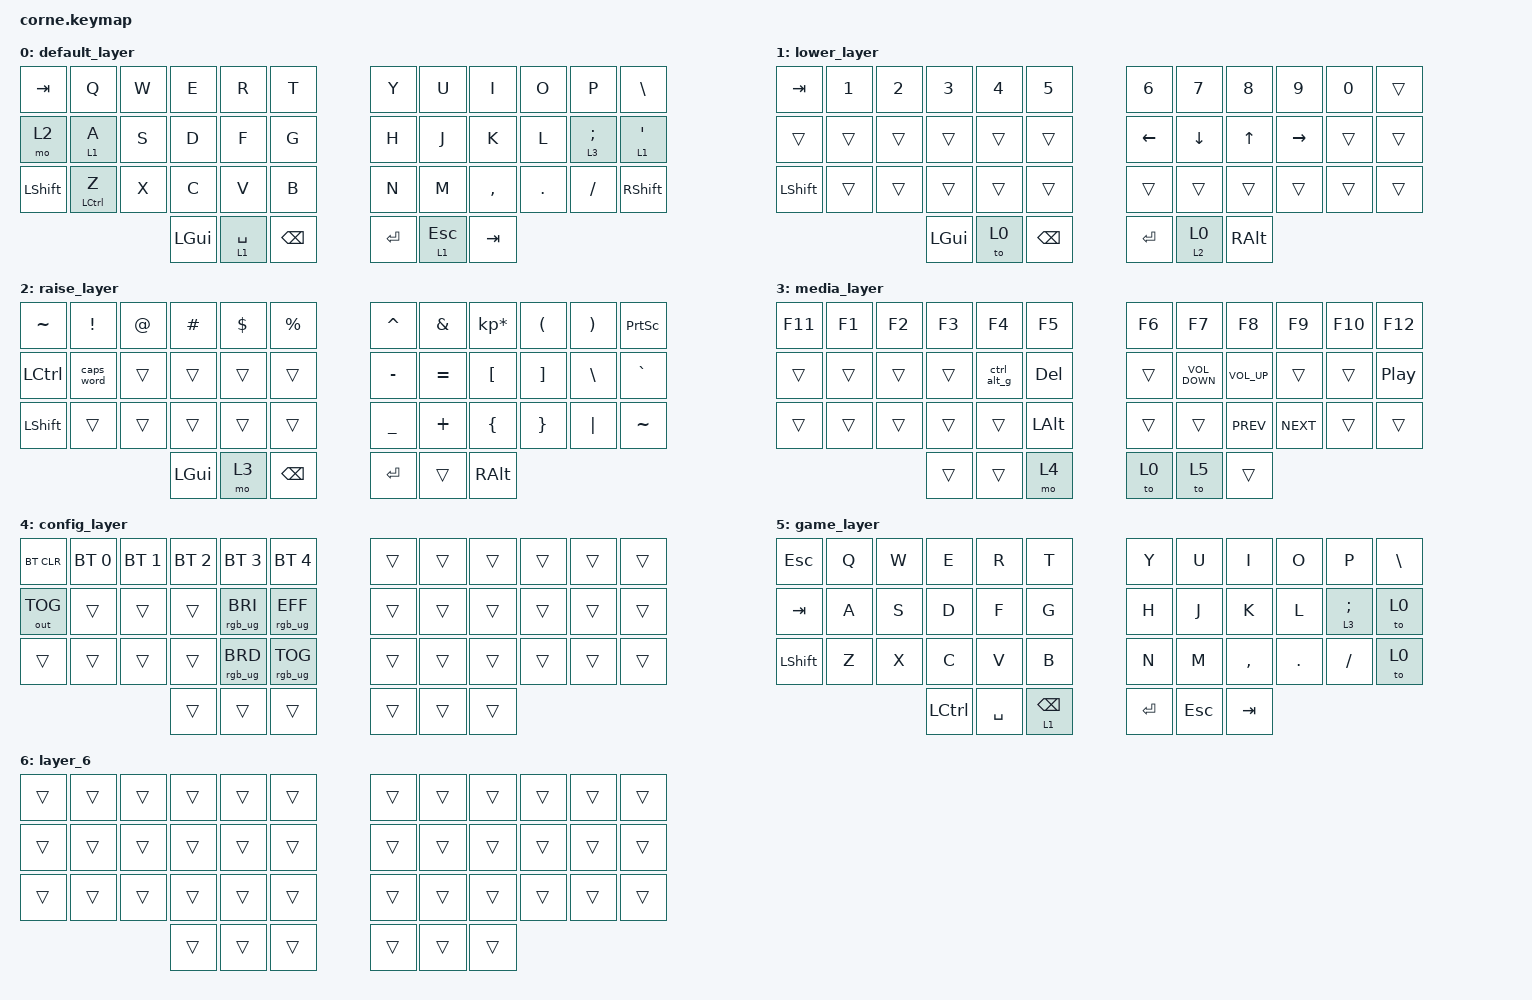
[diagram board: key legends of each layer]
/*
 * Copyright (c) 2020 The ZMK Contributors
 *
 * SPDX-License-Identifier: MIT
 */

#include <../boards/shields/corne/boards/nice_nano.overlay>
#include <behaviors.dtsi>
#include <dt-bindings/zmk/bt.h>
#include <dt-bindings/zmk/keys.h>
#include <dt-bindings/zmk/outputs.h>
#include <dt-bindings/zmk/rgb.h>

// Overwrite number of leds on the keyboard. A Corne has 27 per side.
// &led_strip { chain-length = <27>; };
// Overwrite the display cs pin
// This have to be comment out for the right side.

&nice_view_spi { cs-gpios = <&pro_micro 1 GPIO_ACTIVE_HIGH>; };

&mt { tapping-term-ms = <300>; };

/ {
    behaviors {
        mth: my_tolayer_hold {
            compatible = "zmk,behavior-hold-tap";
            label = "MY_TOLAYER_HOLD";
            #binding-cells = <2>;
            flavor = "tap-preferred";
            tapping-term-ms = <250>;
            quick-tap-ms = <125>;
            bindings = <&mo>, <&kp>;
        };

        mll: my_holdlater_tolayer {
            compatible = "zmk,behavior-hold-tap";
            label = "MY_HOLDLAYER_TOHOLD";
            #binding-cells = <2>;
            flavor = "hold-preferred";
            tapping-term-ms = <250>;
            quick-tap-ms = <125>;
            bindings = <&mo>, <&to>;
        };
    };

    macros {
        ctrl_alt_g: ctrl_alt_g {
            compatible = "zmk,behavior-macro";
            #binding-cells = <0>;
            bindings =
                <&macro_press>,
                <&kp LCTRL &kp LEFT_ALT>,
                <&macro_tap>,
                <&kp G>,
                <&macro_release>,
                <&kp LCTRL &kp LEFT_ALT>;

            label = "CTRL_ALT_G";
        };
    };

    keymap {
        compatible = "zmk,keymap";

        default_layer {
            // -----------------------------------------------------------------------------------------
            // |  TAB |  Q  |  W  |  E  |  R  |  T  |   |  Y  |  U   |  I  |  O  |  P  | BKSP |
            // | CTRL |  A  |  S  |  D  |  F  |  G  |   |  H  |  J   |  K  |  L  |  ;  |  '   |
            // | SHFT |  Z  |  X  |  C  |  V  |  B  |   |  N  |  M   |  ,  |  .  |  /  | ESC  |
            //                    | GUI | LWR | SPC |   | ENT | RSE  | ALT |

            bindings = <
&kp TAB    &kp Q        &kp W  &kp E     &kp R        &kp T            &kp Y    &kp U      &kp I      &kp O    &kp P        &kp BSLH
&mo 2      &lt 1 A      &kp S  &kp D     &kp F        &kp G            &kp H    &kp J      &kp K      &kp L    &mth 3 SEMI  &mth 1 SQT
&kp LSHFT  &mt LCTRL Z  &kp X  &kp C     &kp V        &kp B            &kp N    &kp M      &kp COMMA  &kp DOT  &kp FSLH     &kp RSHIFT
                               &kp LGUI  &lt 1 SPACE  &kp BACKSPACE    &kp RET  &lt 1 ESC  &kp TAB
            >;
        };

        lower_layer {
            // -----------------------------------------------------------------------------------------
            // |  TAB |  1  |  2  |  3  |  4  |  5  |   |  6  |  7  |  8  |  9  |  0  | BKSP |
            // |      |     |     |     |     |     |   | LFT | DWN |  UP | RGT |     |      |
            // | SHFT |     |     |     |     |     |   |     |     |     |     |     |      |
            //                    | GUI | DFL | SPC |   | ENT |     | ALT |

            bindings = <
&kp TAB    &kp N1  &kp N2  &kp N3    &kp N4  &kp N5      &kp N6          &kp N7          &kp N8        &kp N9           &kp N0  &trans
&trans     &trans  &trans  &trans    &trans  &trans      &kp LEFT_ARROW  &kp DOWN_ARROW  &kp UP_ARROW  &kp RIGHT_ARROW  &trans  &trans
&kp LSHFT  &trans  &trans  &trans    &trans  &trans      &trans          &trans          &trans        &trans           &trans  &trans
                           &kp LGUI  &to 0   &kp BSPC    &kp RET         &mll 2 0        &kp RALT
            >;
        };

        raise_layer {
            // -----------------------------------------------------------------------------------------
            // |  ~   |  !  |  @  |  #  |  $  |  %  |   |  ^  |  &  |  *  |  (  |  )  | BKSP |
            // | CTRL |     |     |     |     |     |   |  -  |  =  |  [  |  ]  |  \  |  `   |
            // | SHFT |     |     |     |     |     |   |  _  |  +  |  {  |  }  | "|" |  ~   |
            //                    | GUI |     | SPC |   | ENT |     | ALT |

            bindings = <
&kp TILDE  &kp EXCL    &kp AT  &kp HASH  &kp DLLR  &kp PRCNT        &kp CARET  &kp AMPS   &kp KP_MULTIPLY  &kp LPAR  &kp RPAR  &kp PRINTSCREEN
&kp LCTRL  &caps_word  &trans  &trans    &trans    &trans           &kp MINUS  &kp EQUAL  &kp LBKT         &kp RBKT  &kp BSLH  &kp GRAVE
&kp LSHFT  &trans      &trans  &trans    &trans    &trans           &kp UNDER  &kp PLUS   &kp LBRC         &kp RBRC  &kp PIPE  &kp TILDE
                               &kp LGUI  &mo 3     &kp BACKSPACE    &kp RET    &trans     &kp RALT
            >;
        };

        media_layer {
            // -----------------------------------------------------------------------------------------
            // | BTCLR| BT1 | BT2 | BT3 | BT4 | BT5 |   |     |     |     |     |     |      |
            // | OUT  |     |     |     | BR+ | EFF |   |     |     |     |     |     |      |
            // |      |     |     |     | BR- | RGB |   |     |     |     |     |     |      |
            //                    | GUI |     | SPC |   | ENT |     | ALT |

            bindings = <
&kp F11  &kp F1  &kp F2  &kp F3  &kp F4       &kp F5          &kp F6  &kp F7             &kp F8           &kp F9      &kp F10  &kp F12
&trans   &trans  &trans  &trans  &ctrl_alt_g  &kp DEL         &trans  &kp C_VOLUME_DOWN  &kp C_VOLUME_UP  &trans      &trans   &kp C_PP
&trans   &trans  &trans  &trans  &trans       &kp LEFT_ALT    &trans  &trans             &kp C_PREV       &kp C_NEXT  &trans   &trans
                         &trans  &trans       &mo 4           &to 0   &to 5              &trans
            >;
        };

        config_layer {
            // -----------------------------------------------------------------------------------------
            // | BTCLR| BT1 | BT2 | BT3 | BT4 | BT5 |   |     |     |     |     |     |      |
            // | OUT  |     |     |     | BR+ | EFF |   |     |     |     |     |     |      |
            // |      |     |     |     | BR- | RGB |   |     |     |     |     |     |      |
            //                    | GUI |     | SPC |   | ENT |     | ALT |

            bindings = <
&bt BT_CLR    &bt BT_SEL 0  &bt BT_SEL 1  &bt BT_SEL 2  &bt BT_SEL 3     &bt BT_SEL 4       &trans  &trans  &trans  &trans  &trans  &trans
&out OUT_TOG  &trans        &trans        &trans        &rgb_ug RGB_BRI  &rgb_ug RGB_EFF    &trans  &trans  &trans  &trans  &trans  &trans
&trans        &trans        &trans        &trans        &rgb_ug RGB_BRD  &rgb_ug RGB_TOG    &trans  &trans  &trans  &trans  &trans  &trans
                                          &trans        &trans           &trans             &trans  &trans  &trans
            >;
        };

        game_layer {
            // -----------------------------------------------------------------------------------------
            // |  TAB |  Q  |  W  |  E  |  R  |  T  |   |  Y  |  U   |  I  |  O  |  P  | BKSP |
            // | CTRL |  A  |  S  |  D  |  F  |  G  |   |  H  |  J   |  K  |  L  |  ;  |  '   |
            // | SHFT |  Z  |  X  |  C  |  V  |  B  |   |  N  |  M   |  ,  |  .  |  /  | ESC  |
            //                    | GUI | LWR | SPC |   | ENT | RSE  | ALT |

            bindings = <
&kp ESC         &kp Q  &kp W  &kp E      &kp R      &kp T               &kp Y    &kp U    &kp I      &kp O    &kp P        &kp BSLH
&kp TAB         &kp A  &kp S  &kp D      &kp F      &kp G               &kp H    &kp J    &kp K      &kp L    &mth 3 SEMI  &to 0
&kp LEFT_SHIFT  &kp Z  &kp X  &kp C      &kp V      &kp B               &kp N    &kp M    &kp COMMA  &kp DOT  &kp FSLH     &to 0
                              &kp LCTRL  &kp SPACE  &mth 1 BACKSPACE    &kp RET  &kp ESC  &kp TAB
            >;
        };

        layer_6 {
            bindings = <
&trans  &trans  &trans  &trans  &trans  &trans    &trans  &trans  &trans  &trans  &trans  &trans
&trans  &trans  &trans  &trans  &trans  &trans    &trans  &trans  &trans  &trans  &trans  &trans
&trans  &trans  &trans  &trans  &trans  &trans    &trans  &trans  &trans  &trans  &trans  &trans
                        &trans  &trans  &trans    &trans  &trans  &trans
            >;
        };
    };
};
